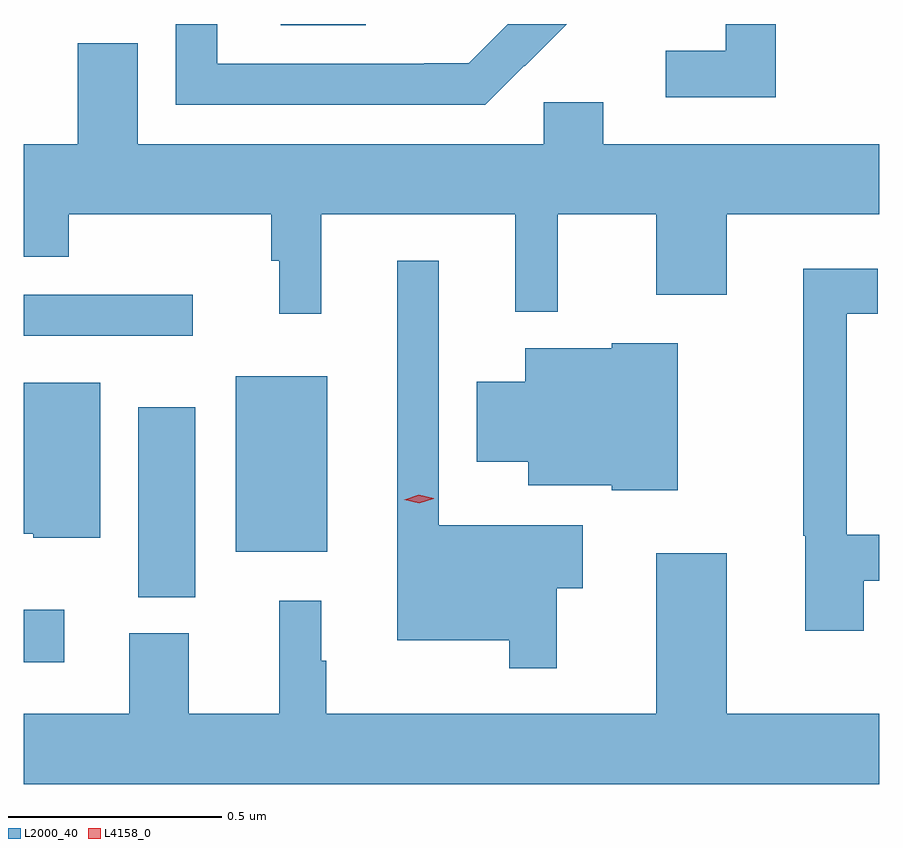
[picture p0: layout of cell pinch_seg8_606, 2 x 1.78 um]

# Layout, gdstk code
import gdstk
lib = gdstk.Library(unit=1e-6, precision=1e-09)
def R(c, l, rs):  # rectangles x0, y0, x1, y1
    for r in rs: c.add(gdstk.rectangle(r[:2], r[2:], *l))
def P(c, l, *ps):  # polygons
    for p in ps: c.add(gdstk.Polygon(p, *l))
L2000_40 = (2000, 40)
L4158_0 = (4158, 0)

pinch_seg8_606 = lib.new_cell('pinch_seg8_606')
R(pinch_seg8_606, L2000_40, [(139.553,1084.817,139.648,1084.939), (139.82,1084.969,139.954,1085.413), (140.048,1085.075,140.263,1085.485), (139.553,1085.58,139.948,1085.676), (140.154,1086.306,140.352,1086.309)])
P(pinch_seg8_606, L2000_40, [(141.311,1086.309),(141.194,1086.309),(141.194,1086.247),(141.054,1086.247),(141.054,1086.138),(141.311,1086.138)],
  [(140.723,1086.211),(140.724,1086.21),(140.823,1086.309),(140.685,1086.309),(140.593,1086.217),(140.489,1086.217),(140.489,1086.216),(140.005,1086.216),(140.005,1086.309),(139.908,1086.309),(139.908,1086.12),(140.632,1086.12)],
  [(140.249,1085.864),(140.702,1085.864),(140.702,1085.636),(140.802,1085.636),(140.802,1085.864),(141.032,1085.864),(141.032,1085.676),(141.196,1085.676),(141.196,1085.864),(141.553,1085.864),(141.553,1086.028),(140.908,1086.028),(140.908,1086.126),(140.769,1086.126),(140.769,1086.028),(139.819,1086.028),(139.819,1086.264),(139.679,1086.264),(139.679,1086.028),(139.553,1086.028),(139.553,1085.765),(139.658,1085.765),(139.658,1085.864),(140.131,1085.864),(140.131,1085.756),(140.15,1085.756),(140.15,1085.631),(140.249,1085.631)],
  [(140.799,1084.99),(140.86,1084.99),(140.86,1085.137),(140.523,1085.137),(140.523,1085.755),(140.426,1085.755),(140.426,1084.868),(140.688,1084.868),(140.688,1084.803),(140.799,1084.803)],
  [(141.517,1085.007),(141.553,1085.007),(141.553,1085.115),(141.477,1085.115),(141.477,1085.631),(141.55,1085.631),(141.55,1085.737),(141.376,1085.737),(141.376,1085.112),(141.38,1085.112),(141.38,1084.89),(141.517,1084.89)],
  [(141.082,1085.563),(140.928,1085.563),(140.928,1085.551),(140.726,1085.551),(140.726,1085.473),(140.612,1085.473),(140.612,1085.285),(140.732,1085.285),(140.732,1085.231),(140.928,1085.231),(140.928,1085.219),(141.082,1085.219)],
  [(139.732,1085.47),(139.553,1085.47),(139.553,1085.117),(139.575,1085.117),(139.575,1085.108),(139.732,1085.108)],
  [(141.553,1084.696),(141.196,1084.696),(141.196,1085.071),(141.032,1085.071),(141.032,1084.696),(140.26,1084.696),(140.26,1084.82),(140.248,1084.82),(140.248,1084.96),(140.15,1084.96),(140.15,1084.696),(139.939,1084.696),(139.939,1084.884),(139.799,1084.884),(139.799,1084.696),(139.553,1084.696),(139.553,1084.532),(141.553,1084.532)])
P(pinch_seg8_606, L4158_0, [(140.478,1085.188),(140.442,1085.197),(140.442,1085.197),(140.442,1085.197),(140.477,1085.208),(140.512,1085.2),(140.512,1085.2),(140.512,1085.199)])

lib.write_gds('pinch_seg8_606.gds')
